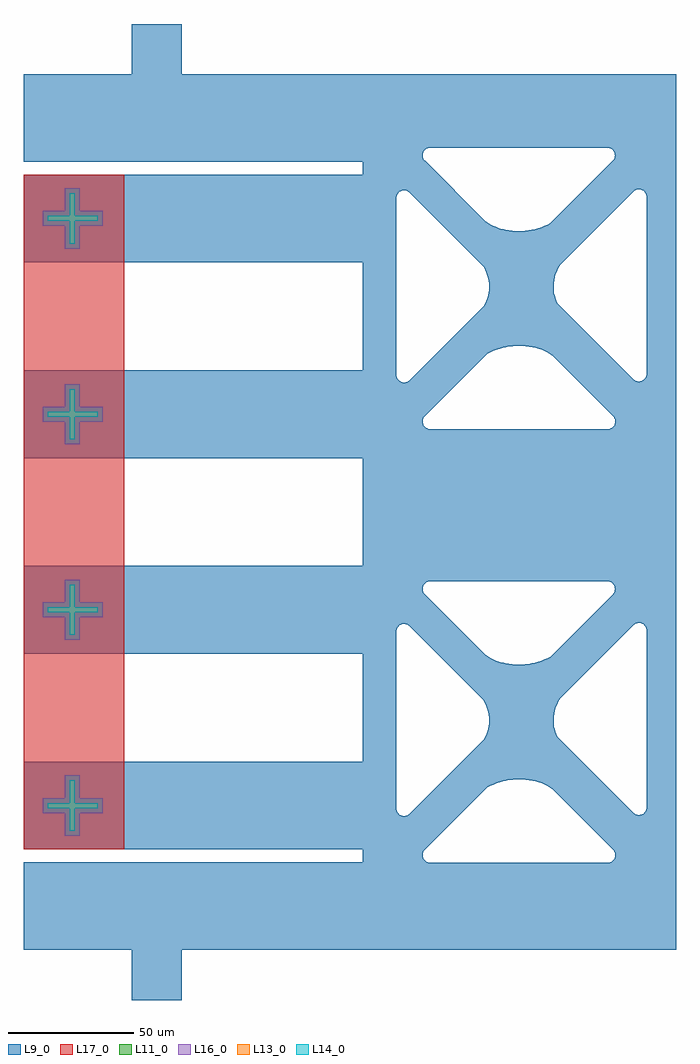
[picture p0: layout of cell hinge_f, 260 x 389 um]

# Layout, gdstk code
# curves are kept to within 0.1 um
import gdstk
lib = gdstk.Library(unit=1e-6, precision=1e-09)
def R(c, l, rs):  # rectangles x0, y0, x1, y1
    for r in rs: c.add(gdstk.rectangle(r[:2], r[2:], *l))
def A(c, l, x, y, w, h, nx, ny, dx, dy):  # array of equal rectangles
    R(c, l, [(x+i*dx, y+j*dy, x+i*dx+w, y+j*dy+h) for i in range(nx) for j in range(ny)])
def P(c, l, *ps):  # polygons
    for p in ps: c.add(gdstk.Polygon(p, *l))
L9_0 = (9, 0)
L11_0 = (11, 0)
L13_0 = (13, 0)
L14_0 = (14, 0)
L16_0 = (16, 0)
L17_0 = (17, 0)

contact_cross = lib.new_cell('contact_cross')
R(contact_cross, L9_0, [(0,0,30,30)])
R(contact_cross, L11_0, [(11.8,3,17.8,27), (3,12,27,18)])
R(contact_cross, L13_0, [(13.8,5,15.8,25), (5,14,25,16)])
R(contact_cross, L14_0, [(13.8,5,15.8,25), (5,14,25,16)])
R(contact_cross, L16_0, [(11.8,3,17.8,27), (3,12,27,18)])
R(contact_cross, L17_0, [(0,0,30,30)])

hinge_f = lib.new_cell('hinge_f')
A(hinge_f, L9_0, -242.1, -134, 135, 35, 1, 4, 0, 78)
R(hinge_f, L9_0, [(-199.1,-194,-179.1,-174), (-242.1,-174,-107.1,-139), (-242.1,140,-107.1,175), (-199.1,175,-179.1,195)])
P(hinge_f, L9_0, [(17.9,2.2),(-6.467,2.2),(-6.467,-30.213),(-6.652,-31.238),(-6.961,-31.861),(-32.1,-57.1),(-34.491,-58.272),(-38.271,-59.559),(-40.881,-60.09),(-44.863,-60.38),(-48.843,-60.058),(-52.727,-59.133),(-56.424,-57.626),(-58.4,-56.2),(-82.435,-32.144),(-82.948,-31.238),(-83.133,-30.213),(-83.062,-29.52),(-82.672,-28.554),(-81.702,-27.568),(-80.5,-27.1),(-9.1,-27.1),(-7.898,-27.568),(-7.127,-28.268),(-6.632,-29.184),(-6.467,-30.213),(-6.467,2.2),(-107.1,2.2),(-107.1,-85.9),(-93.6,-85.9),(-93.6,-46.7),(-93.304,-45.802),(-92.928,-45.215),(-92.432,-44.727),(-91.516,-44.232),(-90.836,-44.083),(-89.796,-44.152),(-89.142,-44.389),(-88.299,-45.001),(-58.911,-74.389),(-57.705,-76.777),(-56.784,-80.219),(-56.623,-82.591),(-57.021,-85.9),(-30.585,-85.9),(-30.942,-83.498),(-30.772,-79.94),(-29.787,-76.516),(-28.104,-73.504),(0.799,-44.601),(1.962,-43.852),(2.987,-43.667),(4.016,-43.832),(4.932,-44.327),(5.632,-45.098),(6.1,-46.3),(6.1,-85.9),(17.9,-85.9)],
  [(17.9,-85.9),(6.1,-85.9),(6.039,-117.943),(5.428,-119.185),(4.339,-120.038),(2.987,-120.333),(1.642,-120.011),(0.799,-119.399),(-6.367,-112.233),(-6.383,-136.536),(-6.662,-137.539),(-7.257,-138.394),(-8.102,-139.004),(-9,-139.3),(-80.5,-139.3),(-81.398,-139.004),(-81.985,-138.628),(-82.838,-137.539),(-83.062,-136.88),(-83.11,-135.84),(-82.639,-134.539),(-57.4,-109.3),(-55.009,-108.128),(-51.229,-106.841),(-48.619,-106.31),(-44.637,-106.02),(-40.657,-106.342),(-36.773,-107.267),(-33.076,-108.774),(-31.1,-110.2),(-7.301,-133.999),(-6.552,-135.162),(-6.367,-136.187),(-6.367,-112.233),(-29.434,-89.166),(-30.585,-85.9),(-57.021,-85.9),(-57.813,-88.384),(-58.765,-90.265),(-88.299,-119.799),(-89.462,-120.548),(-90.487,-120.733),(-91.516,-120.568),(-92.432,-120.073),(-93.132,-119.302),(-93.6,-118.1),(-93.6,-85.9),(-107.1,-85.9),(-107.1,-174),(17.9,-174)],
  [(17.9,175),(-6.467,175),(-6.467,142.587),(-6.652,141.562),(-6.961,140.939),(-32.1,115.7),(-34.491,114.528),(-38.271,113.241),(-40.881,112.71),(-44.863,112.42),(-48.843,112.742),(-52.727,113.667),(-56.424,115.174),(-58.4,116.6),(-82.435,140.656),(-82.948,141.562),(-83.133,142.587),(-83.062,143.28),(-82.672,144.246),(-81.702,145.232),(-80.5,145.7),(-9.1,145.7),(-7.898,145.232),(-7.127,144.532),(-6.632,143.616),(-6.467,142.587),(-6.467,175),(-107.1,175),(-107.1,86.9),(-93.6,86.9),(-93.6,126.1),(-93.304,126.998),(-92.928,127.585),(-92.432,128.073),(-91.516,128.568),(-90.836,128.717),(-89.796,128.648),(-89.142,128.411),(-88.299,127.799),(-58.911,98.411),(-57.705,96.023),(-56.784,92.581),(-56.623,90.209),(-57.021,86.9),(-30.585,86.9),(-30.942,89.302),(-30.772,92.86),(-29.787,96.284),(-28.104,99.296),(0.799,128.199),(1.962,128.948),(2.987,129.133),(4.016,128.968),(4.932,128.473),(5.632,127.702),(6.1,126.5),(6.1,86.9),(17.9,86.9)],
  [(17.9,86.9),(6.1,86.9),(6.039,54.857),(5.428,53.615),(4.339,52.762),(2.987,52.467),(1.642,52.789),(0.799,53.401),(-6.367,60.567),(-6.383,36.264),(-6.662,35.261),(-7.257,34.406),(-8.102,33.796),(-9,33.5),(-80.5,33.5),(-81.398,33.796),(-81.985,34.172),(-82.838,35.261),(-83.062,35.92),(-83.11,36.96),(-82.639,38.261),(-57.4,63.5),(-55.009,64.672),(-51.229,65.959),(-48.619,66.49),(-44.637,66.78),(-40.657,66.458),(-36.773,65.533),(-33.076,64.026),(-31.1,62.6),(-7.301,38.801),(-6.552,37.638),(-6.367,36.613),(-6.367,60.567),(-29.434,83.634),(-30.585,86.9),(-57.021,86.9),(-57.813,84.416),(-58.765,82.535),(-88.299,53.001),(-89.462,52.252),(-90.487,52.067),(-91.516,52.232),(-92.432,52.727),(-93.132,53.498),(-93.6,54.7),(-93.6,86.9),(-107.1,86.9),(-107.1,-1.2),(17.9,-1.2)])
R(hinge_f, L17_0, [(-242.1,-134,-202.1,135)])
hinge_f.add(gdstk.Reference(contact_cross, (-237.6,102.5)))
hinge_f.add(gdstk.Reference(contact_cross, (-237.6,24.5)))
hinge_f.add(gdstk.Reference(contact_cross, (-237.6,-53.5)))
hinge_f.add(gdstk.Reference(contact_cross, (-237.6,-131.5)))

lib.write_gds('hinge_f.gds')
